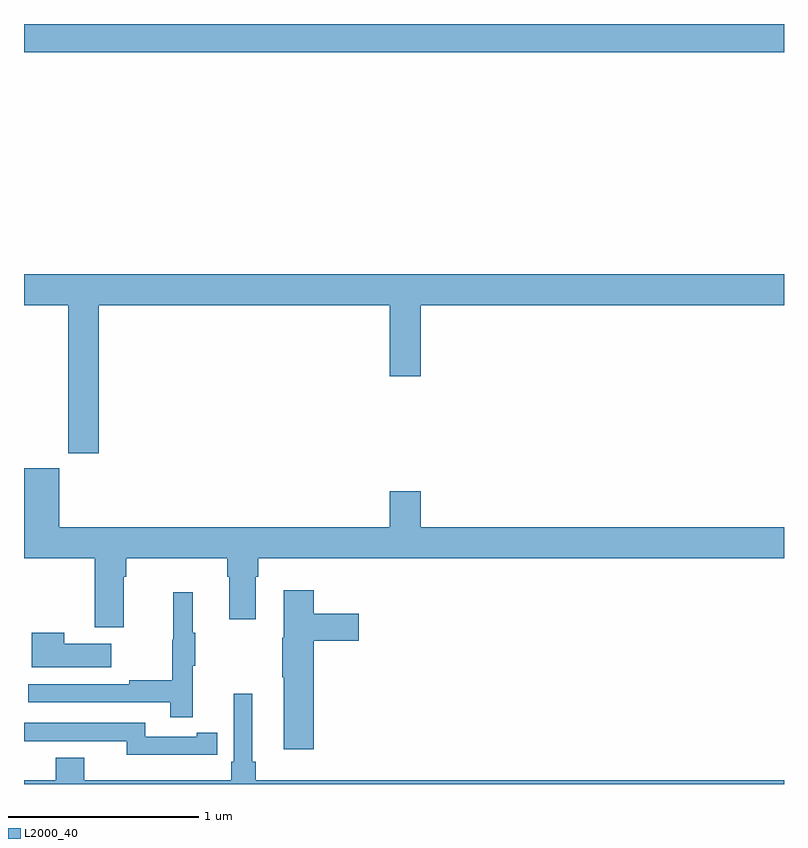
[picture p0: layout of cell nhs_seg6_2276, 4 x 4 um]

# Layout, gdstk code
import gdstk
lib = gdstk.Library(unit=1e-6, precision=1e-09)
def R(c, l, rs):  # rectangles x0, y0, x1, y1
    for r in rs: c.add(gdstk.rectangle(r[:2], r[2:], *l))
def P(c, l, *ps):  # polygons
    for p in ps: c.add(gdstk.Polygon(p, *l))
L2000_40 = (2000, 40)

nhs_seg6_2276 = lib.new_cell('nhs_seg6_2276')
R(nhs_seg6_2276, L2000_40, [(247,931.352,251,931.5)])
P(nhs_seg6_2276, L2000_40, [(247.394,930.02),(248.924,930.02),(248.924,929.646),(249.088,929.646),(249.088,930.02),(251,930.02),(251,930.184),(247,930.184),(247,930.02),(247.234,930.02),(247.234,929.241),(247.394,929.241)],
  [(247.525,928.592),(247.538,928.592),(247.538,928.688),(248.069,928.688),(248.069,928.592),(248.081,928.592),(248.081,928.368),(248.221,928.368),(248.221,928.592),(248.234,928.592),(248.234,928.688),(251,928.688),(251,928.852),(249.088,928.852),(249.088,929.041),(248.924,929.041),(248.924,928.852),(247.186,928.852),(247.186,929.161),(247,929.161),(247,928.688),(247.373,928.688),(247.373,928.326),(247.525,928.326)],
  [(248.525,928.253),(248.761,928.253),(248.761,928.395),(248.525,928.395),(248.525,928.519),(248.366,928.519),(248.366,928.269),(248.359,928.269),(248.359,928.063),(248.366,928.063),(248.366,927.684),(248.525,927.684)],
  [(247.889,928.123),(247.9,928.123),(247.9,928.297),(247.889,928.297),(247.889,928.51),(247.786,928.51),(247.786,928.26),(247.779,928.26),(247.779,928.046),(247.555,928.046),(247.555,928.026),(247.023,928.026),(247.023,927.93),(247.771,927.93),(247.771,927.852),(247.889,927.852)],
  [(247.459,928.237),(247.211,928.237),(247.211,928.297),(247.04,928.297),(247.04,928.115),(247.459,928.115)],
  [(251,927.52),(248.219,927.52),(248.219,927.616),(248.2,927.616),(248.2,927.976),(248.103,927.976),(248.103,927.616),(248.09,927.616),(248.09,927.52),(247.318,927.52),(247.318,927.637),(247.166,927.637),(247.166,927.52),(247,927.52),(247,927.5),(251,927.5)],
  [(247.91,927.654),(248.018,927.654),(248.018,927.77),(247.91,927.77),(247.91,927.75),(247.638,927.75),(247.638,927.822),(247,927.822),(247,927.725),(247.082,927.725),(247.082,927.726),(247.542,927.726),(247.542,927.653),(247.91,927.653)])

lib.write_gds('nhs_seg6_2276.gds')
